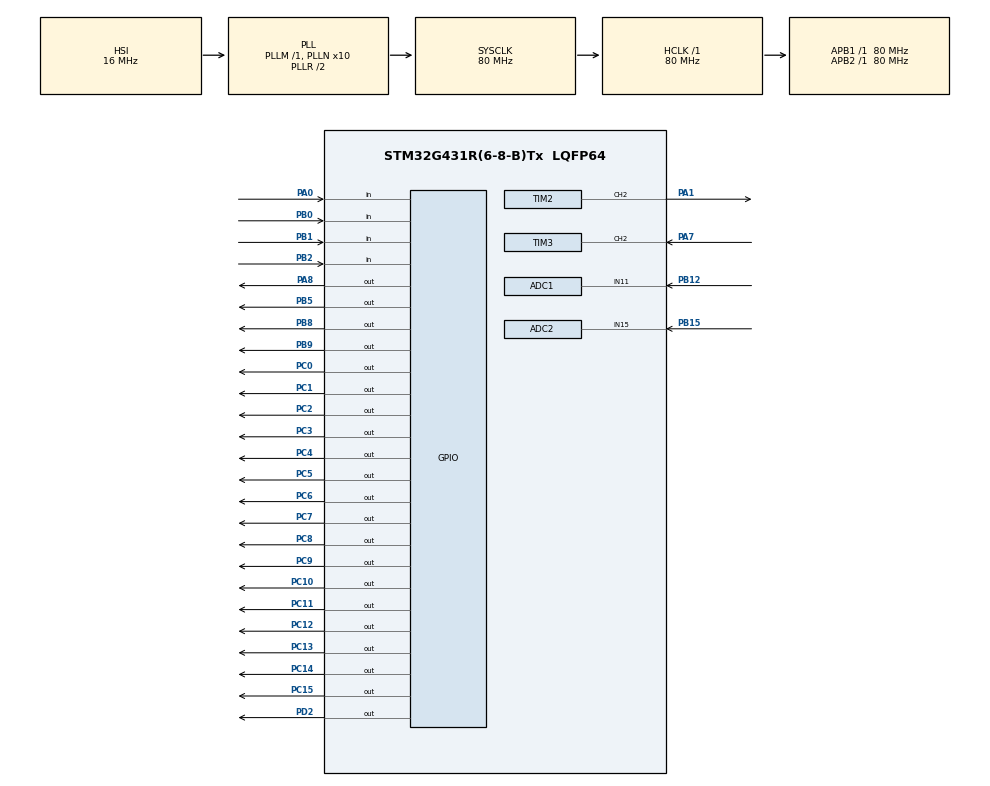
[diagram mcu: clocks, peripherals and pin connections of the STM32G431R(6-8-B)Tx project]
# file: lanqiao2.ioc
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ADC1.Channel-2\#ChannelRegularConversion=ADC_CHANNEL_11
ADC1.NbrOfConversionFlag=1
ADC1.OffsetNumber-2\#ChannelRegularConversion=ADC_OFFSET_NONE
ADC1.Rank-2\#ChannelRegularConversion=1
ADC1.SamplingTime-2\#ChannelRegularConversion=ADC_SAMPLETIME_2CYCLES_5
ADC1.master=1
ADC2.Channel-1\#ChannelRegularConversion=ADC_CHANNEL_15
ADC2.NbrOfConversionFlag=1
ADC2.OffsetNumber-1\#ChannelRegularConversion=ADC_OFFSET_NONE
ADC2.Rank-1\#ChannelRegularConversion=1
ADC2.SamplingTime-1\#ChannelRegularConversion=ADC_SAMPLETIME_2CYCLES_5
Mcu.Family=STM32G4
Mcu.Name=STM32G431R(6-8-B)Tx
Mcu.Package=LQFP64
NVIC.PriorityGroup=NVIC_PRIORITYGROUP_4
NVIC.TIM1_TRG_COM_TIM17_IRQn=true\:0\:0\:false\:false\:true\:true\:true
NVIC.TIM3_IRQn=true\:0\:0\:false\:false\:true\:true\:true
PA0.Signal=GPIO_Input
PA1.Signal=S_TIM2_CH2
PA13.Mode=Serial_Wire
PA13.Signal=SYS_JTMS-SWDIO
PA14.Mode=Serial_Wire
PA14.Signal=SYS_JTCK-SWCLK
PA7.Signal=S_TIM3_CH2
PA8.Signal=GPIO_Output
PB0.Signal=GPIO_Input
PB1.Signal=GPIO_Input
PB12.Mode=IN11-Single-Ended
PB12.Signal=ADC1_IN11
PB15.Mode=IN15-Single-Ended
PB15.Signal=ADC2_IN15
PB2.Signal=GPIO_Input
PB5.Signal=GPIO_Output
PB8-BOOT0.Signal=GPIO_Output
PB9.Signal=GPIO_Output
PC0.Signal=GPIO_Output
PC1.Signal=GPIO_Output
PC10.Signal=GPIO_Output
PC11.Signal=GPIO_Output
PC12.Signal=GPIO_Output
PC13.Signal=GPIO_Output
PC14-OSC32_IN.Signal=GPIO_Output
PC15-OSC32_OUT.Signal=GPIO_Output
PC2.Signal=GPIO_Output
PC3.Signal=GPIO_Output
PC4.Signal=GPIO_Output
PC5.Signal=GPIO_Output
PC6.Signal=GPIO_Output
PC7.Signal=GPIO_Output
PC8.Signal=GPIO_Output
PC9.Signal=GPIO_Output
PD2.Signal=GPIO_Output
PF0-OSC_IN.Mode=HSE-External-Oscillator
PF0-OSC_IN.Signal=RCC_OSC_IN
PF1-OSC_OUT.Mode=HSE-External-Oscillator
PF1-OSC_OUT.Signal=RCC_OSC_OUT
ProjectManager.HeapSize=0x200
ProjectManager.StackSize=0x400
ProjectManager.TargetToolchain=MDK-ARM V5.27
RCC.ADC12Freq_Value=80000000
RCC.AHBFreq_Value=80000000
RCC.APB1Freq_Value=80000000
RCC.APB1TimFreq_Value=80000000
RCC.APB2Freq_Value=80000000
RCC.APB2TimFreq_Value=80000000
RCC.CortexFreq_Value=80000000
RCC.EXTERNAL_CLOCK_VALUE=12288000
RCC.HCLKFreq_Value=80000000
RCC.HSE_VALUE=8000000
RCC.HSI48_VALUE=48000000
RCC.HSI_VALUE=16000000
RCC.LSE_VALUE=32768
RCC.PLLN=10
RCC.SYSCLKFreq_VALUE=80000000
RCC.SYSCLKSource=RCC_SYSCLKSOURCE_PLLCLK
RCC.USBFreq_Value=80000000
RCC.VCOOutputFreq_Value=160000000
SH.S_TIM2_CH2.0=TIM2_CH2,PWM Generation2 CH2
SH.S_TIM3_CH2.0=TIM3_CH2,Input_Capture2_from_TI2
TIM17.PeriodNoDither=10000
TIM17.Prescaler=80-1
TIM2.Channel-PWM\ Generation2\ CH2=TIM_CHANNEL_2
TIM2.PeriodNoDither=2500-1
TIM2.Prescaler=8-1
TIM2.PulseNoDither_2=1000
TIM3.Channel-Input_Capture2_from_TI2=TIM_CHANNEL_2
TIM3.Prescaler=80-1
VP_SYS_VS_DBSignals.Mode=DisableDeadBatterySignals
VP_TIM17_VS_ClockSourceINT.Mode=Enable_Timer
board=custom

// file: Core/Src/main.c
/* USER CODE BEGIN Header */
/**
  ******************************************************************************
  * @file           : main.c
  * @brief          : Main program body
  ******************************************************************************
  * @attention
  *
  * <h2><center>&copy; Copyright (c) 2024 STMicroelectronics.
  * All rights reserved.</center></h2>
  *
  * This software component is licensed by ST under BSD 3-Clause license,
  * the "License"; You may not use this file except in compliance with the
  * License. You may obtain a copy of the License at:
  *                        opensource.org/licenses/BSD-3-Clause
  *
  ******************************************************************************
  */
/* USER CODE END Header */
#include "main.h"
#include "adc.h"
#include "tim.h"
#include "gpio.h"

/* USER CODE BEGIN Includes */
#include "led.h"
#include "lcd.h"
#include "stdio.h"
#include "string.h"
#include "key.h"
/* USER CODE END Includes */

void SystemClock_Config(void);

/* USER CODE BEGIN 0 */
char M='L';
uint8_t N=0,R=1,K=1;
uint8_t temp_R,temp_K;
uint16_t P=50;
float MH=10,ML=10,V=100;

uint8_t key1;
uint8_t display=0;
uint16_t time5s_lock_flag;
char PARA = 'R';
uint8_t P_lock;

uint8_t led_show=0x01;

uint32_t capture_value;
uint32_t freqency;
uint32_t temp_freqency;

float temp_v=0;
uint32_t last_v;

uint16_t keep_time;
uint8_t keep_time_flag;
/* USER CODE END 0 */

int main(void)
{

  /* MCU Configuration--------------------------------------------------------*/

  /* Reset of all peripherals, Initializes the Flash interface and the Systick. */
  HAL_Init();

  /* Configure the system clock */
  SystemClock_Config();

  /* Initialize all configured peripherals */
  MX_GPIO_Init();
  MX_TIM2_Init();
  MX_TIM3_Init();
  MX_TIM17_Init();
  MX_ADC2_Init();
  MX_ADC1_Init();
  /* USER CODE BEGIN 2 */
	LCD_Init();

	LCD_Clear(Black);

	HAL_TIM_Base_Start_IT(&htim17);
	HAL_TIM_IC_Start_IT(&htim3,TIM_CHANNEL_2);

	HAL_TIM_PWM_Start(&htim2,TIM_CHANNEL_2);
	TIM2->CCR2 = 1250;

	HAL_ADC_Start(&hadc1);
  /* USER CODE END 2 */

  /* Infinite loop */
  /* USER CODE BEGIN WHILE */
  while (1)
  {
		if(time5s_lock_flag==0&&P_lock==0)
		{
			HAL_ADC_Start(&hadc2);
			P = (HAL_ADC_GetValue(&hadc2)/4096.f)*100;
			if(P>85)
			{
				P=85;
			}else if(P<10)
			{
				P=10;
			}
			TIM2->CCR2=(TIM2->ARR)*(P/100.f);
		}
		switch(display)
		{
			case 0:
			{
				{

					if(time5s_lock_flag==0)
					{
						LED_display(led_show=led_show&(~(0x01<<1)),1);
					}
					LCD_SetBackColor(Black);
					LCD_SetTextColor(White);
					char temp_show[30];
					sprintf(temp_show,"        DATA ");
					LCD_DisplayStringLine(Line1,(unsigned char *)temp_show);
					sprintf(temp_show,"     freq:%d ",freqency);
					LCD_DisplayStringLine(Line2,(unsigned char *)temp_show);
					sprintf(temp_show,"     M = %c ",M);
					LCD_DisplayStringLine(Line3,(unsigned char *)temp_show);
					sprintf(temp_show,"     P = %d%% ",P);
					LCD_DisplayStringLine(Line4,(unsigned char *)temp_show);
					sprintf(temp_show,"     V = %.1f",V);
					LCD_DisplayStringLine(Line5,(unsigned char *)temp_show);

					sprintf(temp_show,"     T = %ds ",time5s_lock_flag/100);
					LCD_DisplayStringLine(Line6,(unsigned char *)temp_show);

					sprintf(temp_show,"     P_lock = %d ",P_lock);
					LCD_DisplayStringLine(Line7,(unsigned char *)temp_show);

					sprintf(temp_show,"     CCR2 = %d ",TIM2->CCR2);
					LCD_DisplayStringLine(Line8,(unsigned char *)temp_show);
					sprintf(temp_show,"     ARR = %d ",TIM2->ARR);
					LCD_DisplayStringLine(Line9,(unsigned char *)temp_show);

					if(key1==11)
					{
						LED_display(led_show=(led_show&(~0x01)),1);
						LED_display(led_show=led_show&(~(0x01<<1)),1);
						key1 = 0;
						display++;
						temp_R = R;temp_K = K;
						if(display>2)
						{
							display=0;
						}
						LCD_Clear(Black);
					}else if(key1==21)
					{
						key1 = 0;

						if(M=='H'&&time5s_lock_flag==0)
						{
							N++;
							time5s_lock_flag=500;
							M = 'L';
						}else if(M=='L'&&time5s_lock_flag==0)
						{
							N++;
							time5s_lock_flag=500;
							M = 'H';
						}
					}
					else if(key1==41)
					{
						key1 = 0;
						if(P_lock==1)
						{
							LED_display(led_show=(led_show&~(0x01<<2)),1);
							P_lock = 0;
						}
					}
					else if(key1==42)
					{
						key1 = 0;
						if(P_lock==0)
						{
							LED_display(led_show=(led_show|0x04),1);
							P_lock =1;
						}
					}

				}
			}break;
			case 1:
			{
				{

					LCD_SetBackColor(Black);
					LCD_SetTextColor(White);
					char temp_show[30];
					sprintf(temp_show,"        PARA ");
					LCD_DisplayStringLine(Line1,(unsigned char *)temp_show);
					sprintf(temp_show,"     R = %d ",temp_R);
					LCD_DisplayStringLine(Line3,(unsigned char *)temp_show);
					sprintf(temp_show,"     K = %d ",temp_K);
					LCD_DisplayStringLine(Line4,(unsigned char *)temp_show);
					sprintf(temp_show,"     cur PARA = %c ",PARA);
					LCD_DisplayStringLine(Line5,(unsigned char *)temp_show);
					if(key1==11)
					{
						key1 = 0;
						LED_display(led_show=(led_show&(~0x01)),1);
						display++;
						R = temp_R; K = temp_K;
						if(display>2)
						{
							display=0;
						}
						LCD_Clear(Black);
					}else if(key1==21)
					{
						key1 = 0;
						if(PARA=='R')
						{
							PARA='K';
						}else if(PARA=='K')
						{
							PARA='R';
						}
					}
					else if(key1==31)
					{
						key1 = 0;
						if(PARA=='R')
						{
							temp_R++;
							if(temp_R>10)
								temp_R = 1;
						}else if(PARA=='K')
						{
							temp_K++;
							if(temp_K>10)
								temp_K = 1;
						}
					}
					else if(key1==41)
					{
						key1 = 0;
						if(PARA=='R')
						{
							temp_R--;
							if(temp_R<1)
								temp_R = 10;
						}else if(PARA=='K')
						{
							temp_K--;
							if(temp_K<1)
								temp_K = 10;
						}
					}
				}
			}break;
			case 2:
			{
						LCD_SetBackColor(Black);
						LCD_SetTextColor(White);
						char temp_show[30];
						sprintf(temp_show,"        RECD ");
						LCD_DisplayStringLine(Line1,(unsigned char *)temp_show);
						sprintf(temp_show,"     N = %d ",N);
						LCD_DisplayStringLine(Line3,(unsigned char *)temp_show);
						sprintf(temp_show,"     MH = %.1f ",MH);
						LCD_DisplayStringLine(Line4,(unsigned char *)temp_show);
						sprintf(temp_show,"     ML = %.1f ",ML);
						LCD_DisplayStringLine(Line5,(unsigned char *)temp_show);
						sprintf(temp_show,"     Key = %d ",key1);
						LCD_DisplayStringLine(Line6,(unsigned char *)temp_show);

						if(key1==11)
						{
							key1 = 0;
							LED_display(led_show=(led_show|0x01),1);
							display++;
							if(display>2)
							{
								display=0;
							}
							LCD_Clear(Black);
						}
			}break;

		}
    /* USER CODE END WHILE */

  }
}

void SystemClock_Config(void)
{
  RCC_OscInitTypeDef RCC_OscInitStruct = {0};
  RCC_ClkInitTypeDef RCC_ClkInitStruct = {0};
  RCC_PeriphCLKInitTypeDef PeriphClkInit = {0};

  /** Configure the main internal regulator output voltage
  */
  HAL_PWREx_ControlVoltageScaling(PWR_REGULATOR_VOLTAGE_SCALE1);
  /** Initializes the RCC Oscillators according to the specified parameters
  * in the RCC_OscInitTypeDef structure.
  */
  RCC_OscInitStruct.OscillatorType = RCC_OSCILLATORTYPE_HSI;
  RCC_OscInitStruct.HSIState = RCC_HSI_ON;
  RCC_OscInitStruct.HSICalibrationValue = RCC_HSICALIBRATION_DEFAULT;
  RCC_OscInitStruct.PLL.PLLState = RCC_PLL_ON;
  RCC_OscInitStruct.PLL.PLLSource = RCC_PLLSOURCE_HSI;
  RCC_OscInitStruct.PLL.PLLM = RCC_PLLM_DIV1;
  RCC_OscInitStruct.PLL.PLLN = 10;
  RCC_OscInitStruct.PLL.PLLP = RCC_PLLP_DIV2;
  RCC_OscInitStruct.PLL.PLLQ = RCC_PLLQ_DIV2;
  RCC_OscInitStruct.PLL.PLLR = RCC_PLLR_DIV2;
  if (HAL_RCC_OscConfig(&RCC_OscInitStruct) != HAL_OK)
  {
    Error_Handler();
  }
  /** Initializes the CPU, AHB and APB buses clocks
  */
  RCC_ClkInitStruct.ClockType = RCC_CLOCKTYPE_HCLK|RCC_CLOCKTYPE_SYSCLK
                              |RCC_CLOCKTYPE_PCLK1|RCC_CLOCKTYPE_PCLK2;
  RCC_ClkInitStruct.SYSCLKSource = RCC_SYSCLKSOURCE_PLLCLK;
  RCC_ClkInitStruct.AHBCLKDivider = RCC_SYSCLK_DIV1;
  RCC_ClkInitStruct.APB1CLKDivider = RCC_HCLK_DIV1;
  RCC_ClkInitStruct.APB2CLKDivider = RCC_HCLK_DIV1;

  if (HAL_RCC_ClockConfig(&RCC_ClkInitStruct, FLASH_LATENCY_2) != HAL_OK)
  {
    Error_Handler();
  }
  /** Initializes the peripherals clocks
  */
  PeriphClkInit.PeriphClockSelection = RCC_PERIPHCLK_ADC12;
  PeriphClkInit.Adc12ClockSelection = RCC_ADC12CLKSOURCE_SYSCLK;
  if (HAL_RCCEx_PeriphCLKConfig(&PeriphClkInit) != HAL_OK)
  {
    Error_Handler();
  }
}

/* USER CODE BEGIN 4 */
void HAL_TIM_IC_CaptureCallback(TIM_HandleTypeDef *htim)
{
	if(htim->Instance==TIM3)
	{
		capture_value = HAL_TIM_ReadCapturedValue(&htim3,TIM_CHANNEL_2);
		freqency = 80000000/(80*capture_value);
		TIM3 ->CNT =0;
		V = ((freqency*6.28f*R)/(100*K));
		if(M=='L')
		{
			if(V>ML)
			{
				keep_time_flag=1;
			}else
			{
				keep_time=0;
				keep_time_flag=0;
			}

			if(keep_time>200)
			{
				keep_time=0;
				ML=V;
			}
		}
		else if(M=='H')
		{
			if(V>MH)
			{
				keep_time_flag=1;
			}else
			{
				keep_time=0;
				keep_time_flag=0;
			}

			if(keep_time>200)
			{
				keep_time=0;
				MH=V;
			}
		}

	}

}

/* USER CODE END 4 */

void Error_Handler(void)
{
  __disable_irq();
  while (1)
  {
  }
}

/************************ (C) COPYRIGHT STMicroelectronics *****END OF FILE****/
